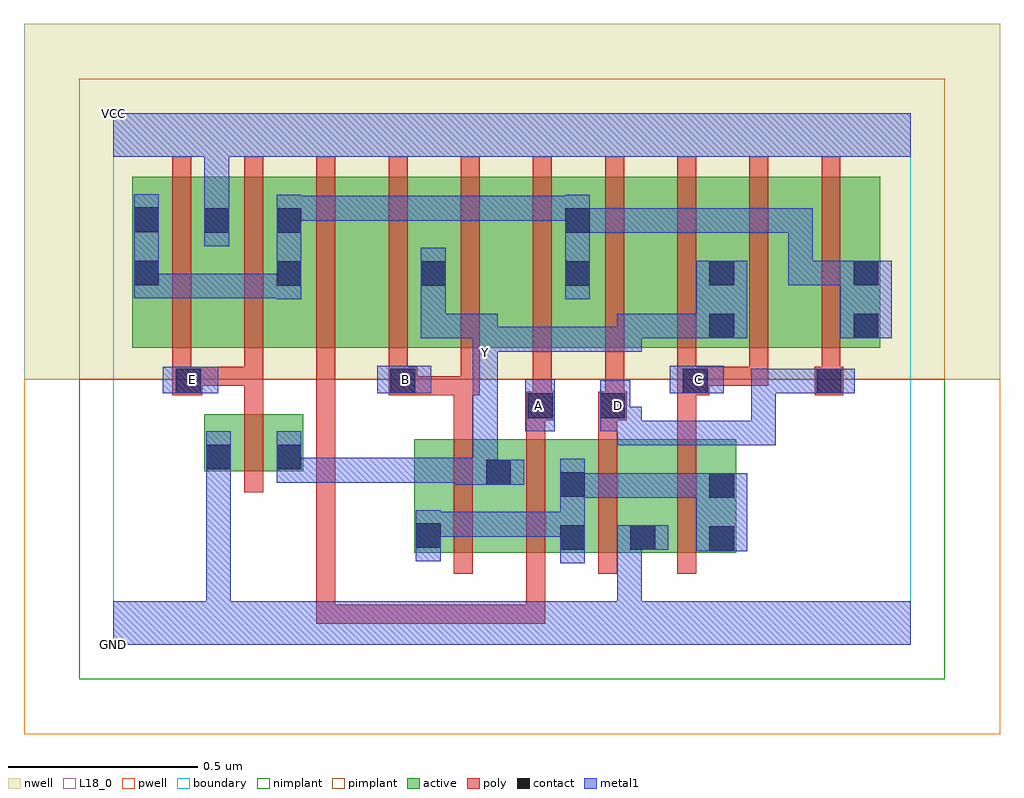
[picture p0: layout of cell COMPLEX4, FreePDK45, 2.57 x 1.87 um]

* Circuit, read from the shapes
.subckt COMPLEX4 A B C D E GND VCC Y
M1 Y E GND VSUBS nfet w=0.15u l=0.05u
M2 Y B n1 VSUBS nfet w=0.3u l=0.05u
M3 n1 A Y VSUBS nfet w=0.3u l=0.05u
M4 GND D n1 VSUBS nfet w=0.3u l=0.05u
M5 n1 C GND VSUBS nfet w=0.3u l=0.05u
M6 VCC E n2 n3 pfet w=0.45u l=0.05u m=2
M7 n4 A n2 n3 pfet w=0.45u l=0.05u
M8 Y B n4 n3 pfet w=0.45u l=0.05u
M9 n5 B Y n3 pfet w=0.45u l=0.05u
M10 n2 A n5 n3 pfet w=0.45u l=0.05u
M11 n6 D n2 n3 pfet w=0.45u l=0.05u
M12 Y C n6 n3 pfet w=0.45u l=0.05u
M13 n7 C Y n3 pfet w=0.45u l=0.05u
M14 n2 D n7 n3 pfet w=0.45u l=0.05u
.ends

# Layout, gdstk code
import gdstk
lib = gdstk.Library(unit=1e-6, precision=1e-09)
def R(c, l, rs):  # rectangles x0, y0, x1, y1
    for r in rs: c.add(gdstk.rectangle(r[:2], r[2:], *l))
def A(c, l, x, y, w, h, nx, ny, dx, dy):  # array of equal rectangles
    R(c, l, [(x+i*dx, y+j*dy, x+i*dx+w, y+j*dy+h) for i in range(nx) for j in range(ny)])
active = (1, 0)
pwell = (2, 0)
nwell = (3, 0)
nimplant = (4, 0)
pimplant = (5, 0)
poly = (9, 0)
contact = (10, 0)
metal1 = (11, 0)
L18_0 = (18, 0)
boundary = (235, 0)

complex4 = lib.new_cell('COMPLEX4')
A(complex4, active, 0.425, 0.782, 0.23, 0.45, 4, 1, 0.38, 0)
A(complex4, active, 0.655, 0.782, 0.225, 0.45, 4, 1, 0.38, 0)
R(complex4, active, [(0.792,0.242,0.867,0.542), (0.792,0.242,1.052,0.542), (0.977,0.242,1.247,0.542), (1.172,0.242,1.432,0.542), (1.172,0.242,1.247,0.46), (1.357,0.242,1.64,0.542), (1.565,0.242,1.64,0.542), (1.357,0.245,1.432,0.392), (0.977,0.33,1.052,0.492), (0.24,0.457,0.315,0.607), (0.24,0.457,0.5,0.607), (0.425,0.457,0.5,0.607), (0.05,0.782,0.125,1.2), (0.05,0.782,0.31,1.232), (0.235,0.782,0.5,1.232), (0.805,0.782,0.88,1.07), (1.565,0.782,1.64,1.07), (1.945,0.782,2.02,1.2), (0.235,0.857,0.31,1.205), (0.425,0.857,0.5,1.2), (1.185,0.857,1.26,1.2)])
R(complex4, pwell, [(-0.235,-0.235,2.335,0.7)])
R(complex4, nwell, [(-0.235,0.7,2.335,1.635)])
R(complex4, nimplant, [(-0.09,-0.09,2.19,0.7)])
R(complex4, pimplant, [(-0.09,0.7,2.19,1.49)])
A(complex4, poly, 0.897, 0.187, 0.05, 0.41, 3, 1, 0.19, 0)
A(complex4, poly, 1.485, 0.682, 0.05, 0.095, 3, 1, 0.19, 0)
A(complex4, poly, 0.155, 0.727, 0.05, 0.56, 10, 1, 0.19, 0)
R(complex4, poly, [(0.535,0.055,0.585,0.105), (0.535,0.055,0.585,0.105), (0.535,0.055,0.585,0.105), (0.535,0.055,0.585,0.105), (0.535,0.055,0.585,0.105), (0.535,0.055,0.585,0.105), (0.535,0.055,0.585,0.105), (0.535,0.055,0.585,0.105), (0.535,0.055,0.585,0.105), (0.535,0.055,0.585,0.105), (0.535,0.055,0.585,0.105), (0.535,0.055,0.717,0.105), (0.535,0.055,0.585,0.777), (0.667,0.055,0.717,0.105), (0.667,0.055,0.717,0.105), (0.667,0.055,0.717,0.105), (0.667,0.055,1.005,0.105), (0.955,0.055,1.005,0.105), (0.955,0.055,1.005,0.105), (0.955,0.055,1.005,0.105), (0.955,0.055,1.137,0.105), (1.087,0.055,1.137,0.105), (1.087,0.055,1.137,0.237), (1.485,0.187,1.535,0.597), (0.345,0.402,0.395,0.662), (0.897,0.547,0.947,0.707), (1.087,0.547,1.137,0.642), (1.277,0.547,1.327,0.642), (1.485,0.547,1.535,0.707), (1.087,0.592,1.162,0.667), (1.277,0.592,1.352,0.667), (0.345,0.612,0.395,0.732), (1.105,0.617,1.155,0.777), (1.295,0.617,1.345,0.777), (0.155,0.657,0.235,0.732), (0.725,0.657,0.8,0.732), (0.75,0.657,0.8,0.707), (0.75,0.657,0.8,0.707), (0.75,0.657,0.947,0.707), (0.897,0.657,0.965,0.707), (0.915,0.657,0.965,0.777), (1.485,0.657,1.57,0.732), (1.847,0.657,1.922,0.732), (0.155,0.682,0.205,0.777), (0.185,0.682,0.235,0.732), (0.185,0.682,0.235,0.732), (0.185,0.682,0.395,0.732), (0.345,0.682,0.395,0.777), (0.345,0.682,0.395,0.732), (0.725,0.682,0.775,0.777), (1.52,0.682,1.725,0.732), (1.675,0.682,1.725,0.732), (1.675,0.682,1.725,0.732), (1.675,0.682,1.725,0.732)])
A(complex4, contact, 0.43, 0.945, 0.065, 0.065, 3, 1, 0.38, 0)
R(complex4, contact, [(1.57,0.247,1.635,0.312), (1.177,0.25,1.242,0.315), (1.362,0.25,1.427,0.315), (0.797,0.255,0.862,0.32), (1.57,0.387,1.635,0.452), (1.177,0.39,1.242,0.455), (0.982,0.422,1.047,0.487), (0.245,0.462,0.31,0.527), (0.43,0.462,0.495,0.527), (1.092,0.597,1.157,0.662), (1.282,0.597,1.347,0.662), (0.165,0.662,0.23,0.727), (0.73,0.662,0.795,0.727), (1.5,0.662,1.565,0.727), (1.852,0.662,1.917,0.727), (1.57,0.807,1.635,0.872), (1.95,0.807,2.015,0.872), (0.055,0.947,0.12,1.012), (1.57,0.947,1.635,1.012), (1.95,0.947,2.015,1.012), (0.24,1.085,0.305,1.15), (0.43,1.085,0.495,1.15), (1.19,1.085,1.255,1.15), (0.055,1.087,0.12,1.152)])
R(complex4, metal1, [(0,0,2.1,0.115), (0.245,0.05,0.31,0.115), (0.245,0.05,0.31,0.115), (0.245,0.05,0.31,0.115), (0.245,0.05,0.31,0.115), (0.245,0.05,0.31,0.115), (0.245,0.05,0.31,0.115), (0.245,0.05,0.31,0.492), (1.327,0.05,1.392,0.115), (1.327,0.05,1.392,0.115), (1.327,0.05,1.392,0.315), (1.177,0.215,1.242,0.49), (0.797,0.22,0.862,0.355), (1.535,0.247,1.67,0.452), (1.327,0.25,1.392,0.315), (1.327,0.25,1.392,0.315), (1.327,0.25,1.462,0.315), (0.797,0.285,0.862,0.35), (0.797,0.285,0.862,0.35), (0.797,0.285,1.105,0.35), (1.04,0.285,1.105,0.35), (1.04,0.285,1.105,0.35), (1.04,0.285,1.105,0.35), (1.04,0.285,1.242,0.35), (1.177,0.387,1.392,0.452), (1.327,0.387,1.392,0.452), (1.327,0.387,1.392,0.452), (1.327,0.387,1.392,0.452), (1.327,0.387,1.6,0.452), (1.535,0.387,1.6,0.452), (1.535,0.387,1.6,0.452), (0.902,0.422,1.012,0.487), (0.902,0.422,0.967,0.492), (0.947,0.422,1.082,0.487), (0.947,0.422,1.012,0.767), (0.245,0.427,0.31,0.562), (0.43,0.427,0.495,0.492), (0.43,0.427,0.495,0.492), (0.43,0.427,0.632,0.492), (0.43,0.427,0.495,0.562), (0.567,0.427,0.632,0.492), (0.567,0.427,0.632,0.492), (0.567,0.427,0.632,0.492), (0.567,0.427,0.875,0.492), (0.81,0.427,0.875,0.492), (0.81,0.427,0.967,0.492), (1.327,0.525,1.392,0.59), (1.327,0.525,1.53,0.59), (1.327,0.525,1.392,0.627), (1.465,0.525,1.53,0.59), (1.465,0.525,1.53,0.59), (1.465,0.525,1.53,0.59), (1.465,0.525,1.745,0.59), (1.68,0.525,1.745,0.59), (1.68,0.525,1.745,0.59), (1.68,0.525,1.745,0.59), (1.68,0.525,1.745,0.727), (1.085,0.562,1.162,0.7), (1.282,0.562,1.362,0.697), (1.297,0.562,1.392,0.627), (1.327,0.562,1.392,0.627), (0.13,0.662,0.277,0.732), (0.695,0.662,0.837,0.735), (1.465,0.662,1.607,0.735), (1.68,0.662,1.745,0.727), (1.68,0.662,1.882,0.727), (1.817,0.662,1.952,0.727), (0.947,0.702,1.012,0.837), (0.947,0.772,1.012,0.837), (0.947,0.772,1.012,0.872), (0.947,0.772,1.21,0.837), (1.145,0.772,1.25,0.837), (1.145,0.772,1.21,0.837), (1.185,0.772,1.25,0.837), (1.185,0.772,1.392,0.837), (1.327,0.772,1.392,0.837), (1.327,0.772,1.392,0.837), (1.327,0.772,1.392,0.872), (0.81,0.807,1.012,0.872), (0.81,0.807,0.875,0.975), (1.327,0.807,1.6,0.872), (1.535,0.807,1.67,1.012), (1.535,0.807,1.6,0.872), (1.535,0.807,1.6,0.872), (1.915,0.807,2.05,1.012), (0.43,0.91,0.495,1.185), (0.81,0.91,0.875,0.975), (0.81,0.91,0.875,1.045), (1.19,0.91,1.255,1.185), (0.055,0.912,0.12,0.977), (0.055,0.912,0.12,0.977), (0.055,0.912,0.27,0.977), (0.055,0.912,0.12,1.187), (0.205,0.912,0.27,0.977), (0.205,0.912,0.27,0.977), (0.205,0.912,0.27,0.977), (0.205,0.912,0.495,0.977), (1.777,0.947,1.882,1.012), (1.777,0.947,1.842,1.012), (1.777,0.947,1.842,1.15), (1.817,0.947,1.98,1.012), (1.817,0.947,1.882,1.012), (0.24,1.05,0.305,1.185), (1.19,1.085,1.392,1.15), (1.327,1.085,1.392,1.15), (1.327,1.085,1.392,1.15), (1.327,1.085,1.392,1.15), (1.327,1.085,1.53,1.15), (1.465,1.085,1.53,1.15), (1.465,1.085,1.53,1.15), (1.465,1.085,1.53,1.15), (1.465,1.085,1.737,1.15), (1.672,1.085,1.737,1.15), (1.672,1.085,1.842,1.15), (1.777,1.085,1.842,1.15), (0.43,1.117,0.495,1.182), (0.43,1.117,0.495,1.182), (0.43,1.117,0.725,1.182), (0.66,1.117,0.725,1.182), (0.66,1.117,0.725,1.182), (0.66,1.117,0.725,1.182), (0.66,1.117,0.725,1.182), (0.66,1.117,0.725,1.182), (0.66,1.117,0.875,1.182), (0.81,1.117,0.875,1.182), (0.81,1.117,0.875,1.182), (0.81,1.117,0.875,1.182), (0.81,1.117,1.105,1.182), (1.04,1.117,1.105,1.182), (1.04,1.117,1.105,1.182), (1.04,1.117,1.105,1.182), (1.04,1.117,1.255,1.182), (0.24,1.12,0.305,1.35), (0,1.285,2.1,1.4)])
R(complex4, L18_0, [(0,0,2.1,0.115), (0.245,0.05,0.31,0.115), (0.245,0.05,0.31,0.115), (0.245,0.05,0.31,0.115), (0.245,0.05,0.31,0.115), (0.245,0.05,0.31,0.115), (0.245,0.05,0.31,0.115), (0.245,0.05,0.31,0.492), (1.327,0.05,1.392,0.115), (1.327,0.05,1.392,0.115), (1.327,0.05,1.392,0.315), (1.327,0.25,1.392,0.315), (1.327,0.25,1.392,0.315), (1.327,0.25,1.462,0.315), (0.902,0.422,0.967,0.492), (0.902,0.422,1.012,0.487), (0.947,0.422,1.082,0.487), (0.947,0.422,1.012,0.767), (0.245,0.427,0.31,0.562), (0.43,0.427,0.495,0.492), (0.43,0.427,0.495,0.492), (0.43,0.427,0.495,0.562), (0.43,0.427,0.632,0.492), (0.567,0.427,0.632,0.492), (0.567,0.427,0.632,0.492), (0.567,0.427,0.632,0.492), (0.567,0.427,0.875,0.492), (0.81,0.427,0.875,0.492), (0.81,0.427,0.967,0.492), (1.327,0.525,1.392,0.59), (1.327,0.525,1.392,0.627), (1.327,0.525,1.53,0.59), (1.465,0.525,1.53,0.59), (1.465,0.525,1.53,0.59), (1.465,0.525,1.53,0.59), (1.465,0.525,1.745,0.59), (1.68,0.525,1.745,0.59), (1.68,0.525,1.745,0.59), (1.68,0.525,1.745,0.59), (1.68,0.525,1.745,0.727), (1.085,0.562,1.162,0.7), (1.282,0.562,1.362,0.697), (1.297,0.562,1.392,0.627), (1.327,0.562,1.392,0.627), (1.087,0.597,1.152,0.662), (1.297,0.597,1.362,0.662), (0.13,0.662,0.277,0.732), (0.695,0.662,0.837,0.735), (1.465,0.662,1.607,0.735), (1.68,0.662,1.745,0.727), (1.68,0.662,1.882,0.727), (1.817,0.662,1.952,0.727), (0.177,0.667,0.242,0.732), (0.737,0.667,0.802,0.732), (1.507,0.667,1.572,0.732), (0.947,0.702,1.012,0.837), (0.947,0.737,1.012,0.802), (0.947,0.772,1.012,0.837), (0.947,0.772,1.012,0.872), (0.947,0.772,1.21,0.837), (1.145,0.772,1.21,0.837), (1.145,0.772,1.25,0.837), (1.185,0.772,1.25,0.837), (1.185,0.772,1.392,0.837), (1.327,0.772,1.392,0.837), (1.327,0.772,1.392,0.837), (1.327,0.772,1.392,0.872), (0.81,0.807,1.012,0.872), (0.81,0.807,0.875,0.975), (1.327,0.807,1.6,0.872), (1.535,0.807,1.6,0.872), (1.535,0.807,1.6,0.872), (1.535,0.807,1.67,1.012), (0.81,0.91,0.875,0.975), (0.81,0.91,0.875,1.045), (0.24,1.05,0.305,1.185), (0.24,1.12,0.305,1.35), (0,1.285,2.1,1.4)])
R(complex4, boundary, [(0,0,2.1,1.4)])
complex4.add(gdstk.Label('A', (1.12,0.63), layer=11, texttype=0))
complex4.add(gdstk.Label('B', (0.77,0.7), layer=11, texttype=0))
complex4.add(gdstk.Label('C', (1.54,0.7), layer=11, texttype=0))
complex4.add(gdstk.Label('D', (1.33,0.63), layer=11, texttype=0))
complex4.add(gdstk.Label('E', (0.21,0.7), layer=11, texttype=0))
complex4.add(gdstk.Label('Y', (0.98,0.77), layer=11, texttype=0))
complex4.add(gdstk.Label('VCC', (0,1.4), layer=11, texttype=0))
complex4.add(gdstk.Label('GND', (0,0), layer=11, texttype=0))

lib.write_gds('COMPLEX4.gds')
